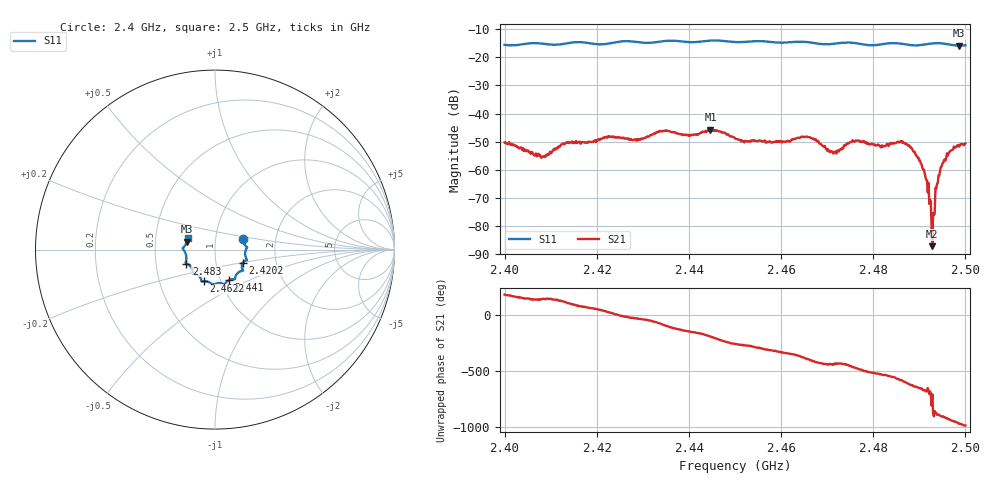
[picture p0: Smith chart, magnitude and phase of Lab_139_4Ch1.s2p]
# Hz S RI R 50
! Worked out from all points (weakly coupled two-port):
!   601 points, 2.4 GHz to 2.5 GHz, reference 50 ohm
!   highest |S21| = -45.74 dB at 2.4447 GHz (marker M1); lowest = -87.3 dB at 2.4928 GHz (marker M2)
!   lowest |S11| = -15.8 dB at 2.4987 GHz (marker M3), VSWR 1.39, Z = 36.4 + j3.3 ohm
!   |S11| at or under -10 dB: start of sweep to end of sweep
!   S12 and S22 are empty: the file has one direction only
!   S11 on the Smith chart (normalised r, x): 2.4 GHz: 1.36, +0.17; 2.4202 GHz: 1.35, -0.20; 2.441 GHz: 1.10, -0.39; 2.4622 GHz: 0.83, -0.30; 2.483 GHz: 0.72, -0.12; 2.5 GHz: 0.73, +0.09
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2.4e9  0.1562 0.0603  -0.00305 8.08e-05  0 0  0 0
2.408333e9  0.176 0.00653  -0.00133 0.00106  0 0  0 0
2.416667e9  0.1777 -0.0583  0.000907 0.003  0 0  0 0
2.420167e9  0.1562 -0.0719  0.00226 0.00242  0 0  0 0
2.433333e9  0.113 -0.1524  0.00136 -0.00457  0 0  0 0
2.441e9  0.0769 -0.1705  -0.00382 -0.00174  0 0  0 0
2.444667e9  0.0549 -0.1921  -0.00497 0.0014  0 0  0 0
2.45e9  0.0266 -0.1863  -0.000579 0.00355  0 0  0 0
2.462167e9  -0.0631 -0.1766  0.00326 0.000622  0 0  0 0
2.466667e9  -0.0766 -0.1668  0.00243 -0.00267  0 0  0 0
2.4715e9  -0.1104 -0.1367  0.000453 -0.00203  0 0  0 0
2.476e9  -0.125 -0.1305  -0.0012 -0.00294  0 0  0 0
2.483e9  -0.1592 -0.0782  -0.00287 9.73e-05  0 0  0 0
2.483333e9  -0.1609 -0.0775  -0.00259 0.000346  0 0  0 0
2.486333e9  -0.1619 -0.0654  -0.00215 0.00237  0 0  0 0
2.489333e9  -0.1611 -0.0308  0.000408 0.00173  0 0  0 0
2.4915e9  -0.1718 -0.00646  0.000529 0.000391  0 0  0 0
2.492833e9  -0.178 0.0023  4.24e-05 8.18e-06  0 0  0 0
2.494e9  -0.1799 0.00691  -0.00056 -0.000108  0 0  0 0
2.495e9  -0.1775 0.0106  -0.00127 0.000143  0 0  0 0
2.498667e9  -0.1559 0.0442  -0.00078 0.00246  0 0  0 0
2.5e9  -0.1529 0.0629  -0.000205 0.00292  0 0  0 0
